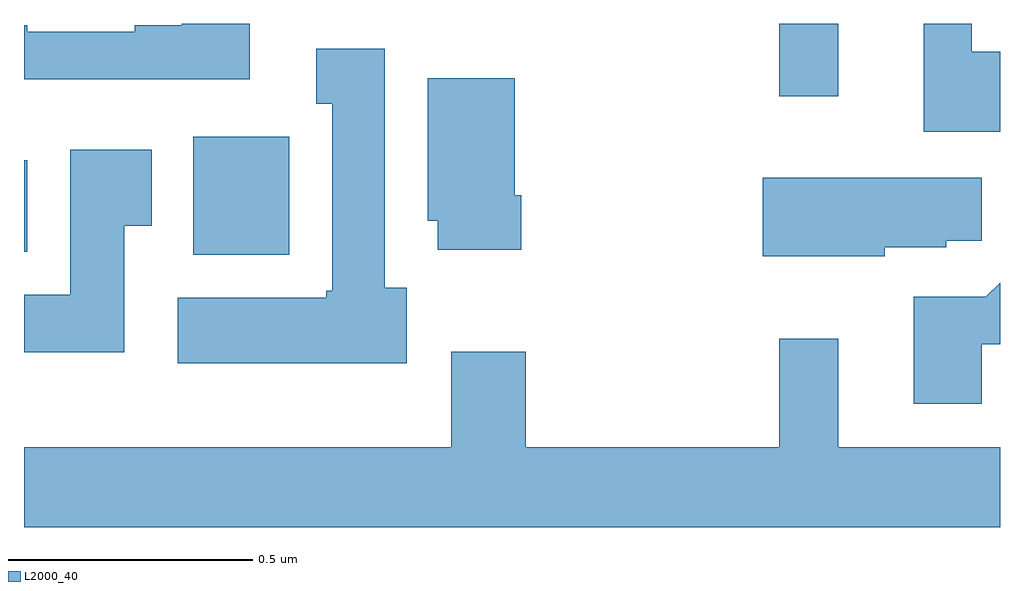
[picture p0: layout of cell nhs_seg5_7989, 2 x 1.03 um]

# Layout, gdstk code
import gdstk
lib = gdstk.Library(unit=1e-6, precision=1e-09)
def R(c, l, rs):  # rectangles x0, y0, x1, y1
    for r in rs: c.add(gdstk.rectangle(r[:2], r[2:], *l))
def P(c, l, *ps):  # polygons
    for p in ps: c.add(gdstk.Polygon(p, *l))
L2000_40 = (2000, 40)

nhs_seg5_7989 = lib.new_cell('nhs_seg5_7989')
R(nhs_seg5_7989, L2000_40, [(216.347,849.326,216.544,849.568), (216,849.332,216.007,849.52), (217.548,849.651,217.669,849.799)])
P(nhs_seg5_7989, L2000_40, [(216.463,849.799),(216.323,849.799),(216.323,849.796),(216.227,849.796),(216.227,849.783),(216.007,849.783),(216.007,849.796),(216,849.796),(216,849.686),(216.463,849.686)],
  [(218,849.742),(217.942,849.742),(217.942,849.799),(217.844,849.799),(217.844,849.578),(218,849.578)],
  [(216.784,849.258),(216.739,849.258),(216.739,849.748),(216.599,849.748),(216.599,849.635),(216.632,849.635),(216.632,849.252),(216.619,849.252),(216.619,849.238),(216.315,849.238),(216.315,849.104),(216.784,849.104)],
  [(217.019,849.448),(217.006,849.448),(217.006,849.688),(216.827,849.688),(216.827,849.396),(216.848,849.396),(216.848,849.336),(217.019,849.336)],
  [(216.205,849.385),(216.262,849.385),(216.262,849.541),(216.095,849.541),(216.095,849.244),(216,849.244),(216,849.126),(216.205,849.126)],
  [(217.764,849.341),(217.89,849.341),(217.89,849.355),(217.963,849.355),(217.963,849.484),(217.514,849.484),(217.514,849.323),(217.764,849.323)],
  [(217.963,849.143),(218,849.143),(218,849.269),(217.971,849.24),(217.823,849.24),(217.823,849.021),(217.963,849.021)],
  [(218,848.932),(217.669,848.932),(217.669,849.154),(217.548,849.154),(217.548,848.932),(217.028,848.932),(217.028,849.127),(216.875,849.127),(216.875,848.932),(216,848.932),(216,848.768),(218,848.768)])

lib.write_gds('nhs_seg5_7989.gds')
